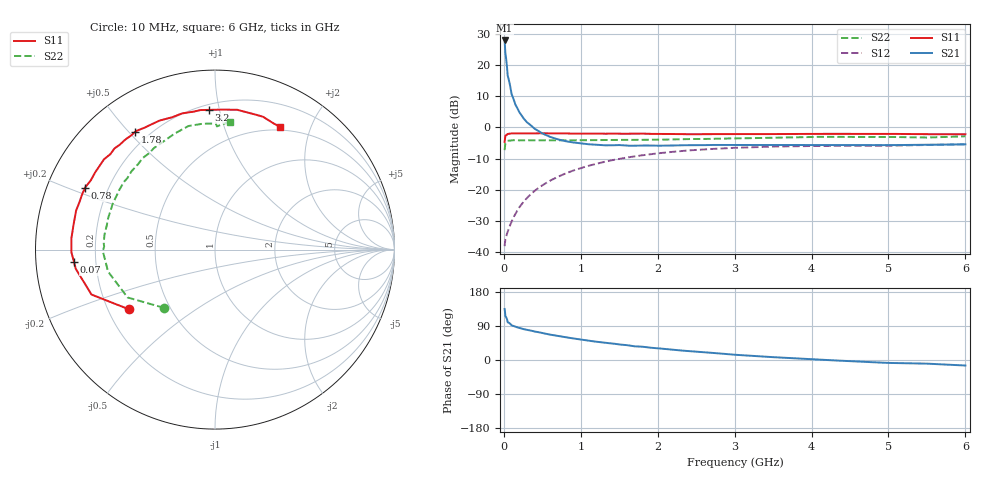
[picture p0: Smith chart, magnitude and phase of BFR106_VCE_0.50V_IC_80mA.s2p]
! Infineon Technologies  Discrete & RF Semiconductors
! BFR106
! VCE = 0.50 V,  IC =  80 mA
! Common Emitter S-Parameters:  Nov 2015
# GHz  S  MA  R  50
!  f  S11  S21  S12  S22
! GHz  MAG  ANG  MAG  ANG  MAG  ANG  MAG  ANG
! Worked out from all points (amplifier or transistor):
!   210 points, 10 MHz to 6 GHz, reference 50 ohm
!   highest |S21| = 27.8 dB at 10 MHz (marker M1)
!   |S21| within 3 dB of that: start of sweep to 17.62 MHz
!   unconditionally stable (mu >= 1): start of sweep to 14.74 MHz; 33.96 MHz to end of sweep
!   at 185 MHz: K = 1.67, MAG = 11.2 dB, |S12| = -26.2 dB
!   at 1.52 GHz: K = 1.27, MAG = -1.0 dB, |S12| = -10.0 dB
!   at 6 GHz: K = 1.04, MAG = -1.2 dB, |S12| = -5.4 dB
!   S11 on the Smith chart (normalised r, x): 10 MHz: 0.29, -0.29; 70 MHz: 0.12, -0.04; 780 MHz: 0.12, +0.22; 1.78 GHz: 0.15, +0.52; 3.2 GHz: 0.23, +0.93; 6 GHz: 0.46, +1.56
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0.01  0.5846 -145.4  24.61 134.6  0.0125 45.9  0.4314 -131.2
0.02  0.7323 -160.0  15.51 115.7  0.0162 38.4  0.5554 -151.3
0.035  0.7535 -166.3  11.04 110.8  0.0187 41.2  0.5754 -160.2
0.05  0.7832 -172.2  6.746 99.6  0.0213 43.3  0.6084 -168.4
0.07  0.7887 -175.0  5.406 97.6  0.025 48.4  0.611 -171.7
0.1  0.8003 -179.0  3.421 91.5  0.0307 53.7  0.6185 -176.5
0.15  0.8003 177.8  2.313 87.6  0.041 61.2  0.6253 -179.2
0.2  0.8027 175.6  1.757 84.4  0.0521 64.9  0.6178 178.4
0.24  0.801 173.4  1.485 82.3  0.0605 66.5  0.6207 176.8
0.3  0.8007 171.4  1.207 79.6  0.0736 67.9  0.6208 175.1
0.4  0.8008 167.2  0.95 75.2  0.096 68.1  0.6212 172.3
0.6  0.8002 160.7  0.704 67.0  0.1394 66.4  0.6174 167.6
0.78  0.8014 154.8  0.609 60.9  0.1775 63.3  0.6205 163.4
1.02  0.7942 146.6  0.549 53.5  0.2261 58.6  0.6218 158.1
1.78  0.7926 124.1  0.511 35.3  0.3542 42.2  0.6305 141.3
2.02  0.7829 117.9  0.508 30.6  0.3853 37.3  0.6379 136.3
3.1  0.7801 94.2  0.52 12.6  0.4734 17.4  0.667 115.6
3.2  0.7792 92.6  0.52 11.3  0.4775 15.9  0.6705 114.0
4.1  0.7875 79.9  0.522 1.0  0.5029 3.5  0.7036 100.8
5.1  0.7843 69.2  0.52 -8.1  0.5111 -6.4  0.6997 89.5
5.5  0.7755 65.7  0.526 -9.6  0.5227 -8.2  0.6865 89.1
6  0.7743 62.1  0.534 -14.6  0.5349 -13.9  0.7181 83.5
